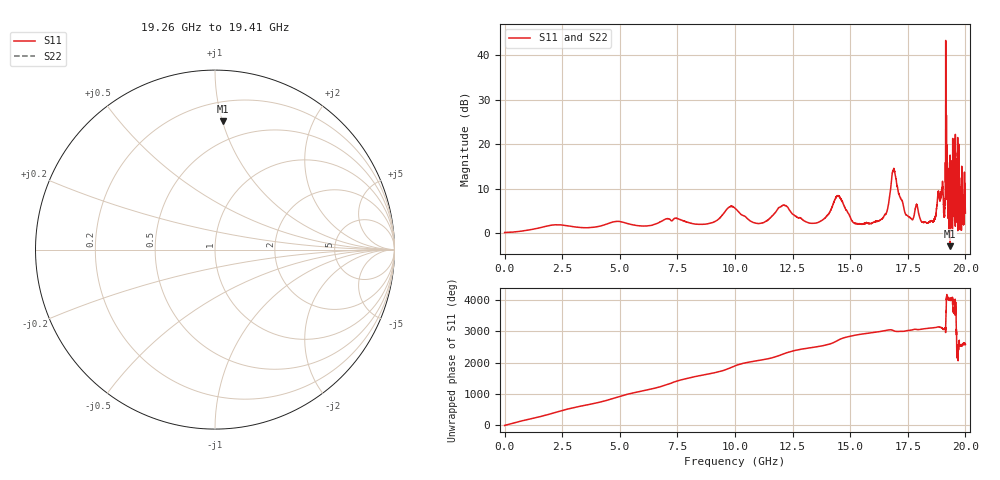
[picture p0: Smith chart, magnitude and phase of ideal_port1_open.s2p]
! Created with skrf (http://scikit-rf.org).
# GHz S RI R 50.0
!freq ReS11 ImS11 ReS21 ImS21 ReS12 ImS12 ReS22 ImS22
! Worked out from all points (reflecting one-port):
!   10001 points, 1 MHz to 20 GHz, reference 50 ohm
!   lowest |S11| = -2.9 dB at 19.33 GHz (marker M1), VSWR 6.02, Z = 17.1 + j50.1 ohm
!   phase of S11 starts at 0 deg and turns +2584 deg over the sweep
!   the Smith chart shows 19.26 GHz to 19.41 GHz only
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0.001  1.015 0.00362  0 0  0 0  1.015 0.00362
1.528924  0.1911 -1.136  0 0  0 0  0.1911 -1.136
2.39288  -0.0999 1.24  0 0  0 0  -0.0999 1.24
3.334833  -0.204 -1.14  0 0  0 0  -0.204 -1.14
4.906755  -1.351 -0.1599  0 0  0 0  -1.351 -0.1599
5.872706  1.207 0.0577  0 0  0 0  1.207 0.0577
6.668667  -0.9281 0.9172  0 0  0 0  -0.9281 0.9172
9.352532  0.3006 -1.466  0 0  0 0  0.3006 -1.466
10.0005  -0.311 1.891  0 0  0 0  -0.311 1.891
10.85246  -0.4657 -1.22  0 0  0 0  -0.4657 -1.22
11.69842  1.598 0.4118  0 0  0 0  1.598 0.4118
12.31438  -1.892 0.2538  0 0  0 0  -1.892 0.2538
13.33433  1.017 -0.7981  0 0  0 0  1.017 -0.7981
14.20629  -0.2592 1.928  0 0  0 0  -0.2592 1.928
14.43628  -2.631 0.051  0 0  0 0  -2.631 0.051
14.66827  -0.466 -2.185  0 0  0 0  -0.466 -2.185
15.20624  1.283 -0.1126  0 0  0 0  1.283 -0.1126
16.66817  -2.077 0.6179  0 0  0 0  -2.077 0.6179
16.97615  -1.913 3.77  0 0  0 0  -1.913 3.77
18.88806  -0.9802 -2.358  0 0  0 0  -0.9802 -2.358
19.33003  0.0432 0.7138  0 0  0 0  0.0432 0.7138
20  0.7273 1.516  0 0  0 0  0.7273 1.516
